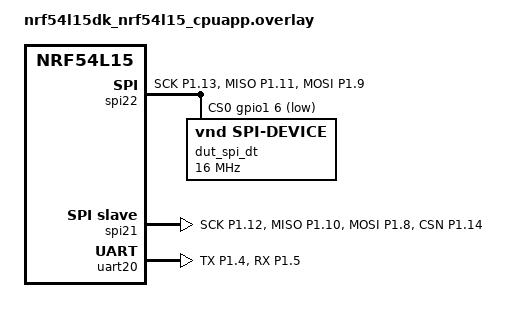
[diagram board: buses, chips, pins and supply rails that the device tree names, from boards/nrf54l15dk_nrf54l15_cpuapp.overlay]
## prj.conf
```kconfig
CONFIG_NRF_SENSOR_ENGINE=y
CONFIG_NRFX_SPIM=y
CONFIG_NRFX_SPIS=y
CONFIG_ZTEST=y

CONFIG_TEST_LOGGING_DEFAULTS=n
CONFIG_LOG=y
CONFIG_LOG_BUFFER_SIZE=16384

CONFIG_PPI_TRACE=y
```

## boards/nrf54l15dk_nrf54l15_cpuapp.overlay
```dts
/*
 * Copyright (c) 2024 Nordic Semiconductor
 *
 * SPDX-License-Identifier: Apache-2.0
 */

&pinctrl {
	uart20_alt_default: uart20_alt_default {
		group1 {
			psels = <NRF_PSEL(UART_TX, 1, 4)>;
		};

		group2 {
			psels = <NRF_PSEL(UART_RX, 1, 5)>;
			bias-pull-up;
		};
	};

	uart20_alt_sleep: uart20_alt_sleep {
		group1 {
			psels = <NRF_PSEL(UART_TX, 1, 4)>,
				<NRF_PSEL(UART_RX, 1, 5)>;
			low-power-enable;
		};
	};

	spi22_default_alt: spi22_default_alt {
		group1 {
			psels = <NRF_PSEL(SPIM_SCK, 1, 13)>,
				<NRF_PSEL(SPIM_MISO, 1, 11)>,
				<NRF_PSEL(SPIM_MOSI, 1, 9)>;
		};
	};

	spi22_sleep_alt: spi22_sleep_alt {
		group1 {
			psels = <NRF_PSEL(SPIM_SCK, 1, 13)>,
				<NRF_PSEL(SPIM_MISO, 1, 11)>,
				<NRF_PSEL(SPIM_MOSI, 1, 9)>;
			low-power-enable;
		};
	};

	spi21_default_alt: spi21_default_alt {
		group1 {
			psels = <NRF_PSEL(SPIS_SCK, 1, 12)>,
				<NRF_PSEL(SPIS_MISO, 1, 10)>,
				<NRF_PSEL(SPIS_MOSI, 1, 8)>,
				<NRF_PSEL(SPIS_CSN, 1, 14)>;
		};
	};

	spi21_sleep_alt: spi21_sleep_alt {
		group1 {
			psels = <NRF_PSEL(SPIS_SCK, 1, 12)>,
				<NRF_PSEL(SPIS_MISO, 1, 10)>,
				<NRF_PSEL(SPIS_MOSI, 1, 8)>,
				<NRF_PSEL(SPIS_CSN, 1, 14)>;
			low-power-enable;
		};
	};
};

dut_cnt_timer: &timer21 {
	status = "reserved";
};

dut_trig_timer: &timer22 {
	status = "reserved";
};

dut_spi: &spi22 {
	status = "okay";
	pinctrl-0 = <&spi22_default_alt>;
	pinctrl-1 = <&spi22_sleep_alt>;
	pinctrl-names = "default", "sleep";
	overrun-character = <0x00>;
	cs-gpios = <&gpio1 6 GPIO_ACTIVE_LOW>;
	zephyr,pm-device-runtime-auto;

	dut_spi_dt: test-spi-dev@0 {
		compatible = "vnd,spi-device";
		reg = <0>;
		spi-max-frequency = <DT_FREQ_M(16)>;
	};
};

dut_spis: &spi21 {
	compatible = "nordic,nrf-spis";
	status = "okay";
	def-char = <0x00>;
	interrupts = <199 0>;
	pinctrl-0 = <&spi21_default_alt>;
	pinctrl-1 = <&spi21_sleep_alt>;
	pinctrl-names = "default", "sleep";
	/delete-property/ rx-delay-supported;
	/delete-property/ rx-delay;
	zephyr,pm-device-runtime-auto;
};

&uart20 {
	pinctrl-0 = <&uart20_alt_default>;
	pinctrl-1 = <&uart20_alt_sleep>;
};
```

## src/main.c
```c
/*
 * Copyright (c) 2025 Nordic Semiconductor ASA
 *
 * SPDX-License-Identifier: LicenseRef-Nordic-5-Clause
 */

#include <errno.h>
#include <string.h>
#include <zephyr/kernel.h>
#include <zephyr/ztest.h>
#include <debug/cpu_load.h>
#include <drivers/ppi_seq.h>
#include <drivers/ppi_seq_spim.h>
#include <zephyr/drivers/pinctrl.h>
#include <nrfx_spim.h>
#include <nrfx_spis.h>
#include <nrfx_timer.h>
#include <nrfx_grtc.h>
#include <nrfx_gpiote.h>
#include <hal/nrf_gpio.h>
#include <debug/ppi_trace.h>
#include <zephyr/logging/log.h>
#include <zephyr/drivers/gpio/gpio_nrf.h>
LOG_MODULE_REGISTER(test);

#define SPIM_NODE DT_NODELABEL(dut_spi)
#define SPIS_NODE DT_NODELABEL(dut_spis)
static nrfx_spim_t spim;
static nrfx_spis_t spis;

#define XFER_LEN 8
#define XFER_CNT 16

struct spis_test_data {
	uint32_t cnt;
	uint32_t exp_len;
	nrfx_spis_t *spis;
	volatile bool stop;
	bool err;
	uint8_t rx_buf[XFER_LEN];
	uint8_t tx_buf[XFER_LEN];
	uint32_t last_timestamp;
	uint32_t timestamp_idx;
	uint32_t timestamp_max;
	uint32_t exp_diff[4];
};

struct engine_test_data {
	struct ppi_seq_spim engine;
	nrfx_gpiote_t *gpiote;
	uint8_t gpiote_task_ch;
	uint32_t ss_pin;
	uint32_t ss_task;

	uint8_t tx_buf0[XFER_CNT][XFER_LEN];
	uint8_t rx_buf0[XFER_CNT][XFER_LEN];

	uint8_t tx_buf1[XFER_CNT][XFER_LEN];
	uint8_t rx_buf1[XFER_CNT][XFER_LEN];

	uint32_t exp_len;
	uint32_t exp_cnt;

	volatile uint32_t cb_cnt;
	volatile uint32_t tx_byte_cnt;
	volatile uint32_t rx_byte_cnt;
	uint32_t rpt;
	bool stop_immediate;
	volatile bool stop;
	uint32_t t_cb;
	bool err;

	struct k_sem end_sem;
};

static struct spis_test_data spis_data;
static struct engine_test_data engine_data;

static NRF_TIMER_Type *timer = (NRF_TIMER_Type *)DT_REG_ADDR(DT_NODELABEL(dut_trig_timer));

static void *rtc_prepare_and_get(void)
{
#ifdef CONFIG_SOC_NRF54L15_CPUAPP
	void *reg = (void *)0x50105000;
	*(uint32_t *)reg = 1;
	k_msleep(1);
	*(uint32_t *)((uint32_t)reg + 4) = 1;

	return reg;
#else
	return NULL;
#endif
}

static void next_spis(struct spis_test_data *data)
{
	int rv;

	for (int i = 0; i < data->exp_len; i++) {
		data->tx_buf[i] = data->cnt + i;
	}

	rv = nrfx_spis_buffers_set(data->spis, data->tx_buf, data->exp_len,
				   data->rx_buf, data->exp_len);
	zassert_ok(rv, "Unexpected error:%d", rv);
}

static void spis_event_handler(nrfx_spis_event_t const *event, void *context)
{
	struct spis_test_data *data = context;

	if ((event->evt_type == NRFX_SPIS_XFER_DONE) && (data->stop == false)) {
		uint8_t *rx_buf = event->p_rx_buf;

		/* Check that interrupt happens at expected moment. */
	NRF_P2->OUTSET=BIT(9);
		uint32_t now = nrfx_grtc_syscounter_get();
		uint32_t diff = now - data->last_timestamp;

	NRF_P2->OUTCLR=BIT(9);
		if (0 && data->last_timestamp > 0) {
			NRF_P2->OUTSET=BIT(10);
			zassert_within(diff, data->exp_diff[data->timestamp_idx] + 10, 35,
				"Unexpected spis interrupt after %d from last,"
				"expected %d us", diff, data->exp_diff[data->timestamp_idx] + 10);
			NRF_P2->OUTCLR=BIT(10);
		}
		data->last_timestamp = now;
		data->timestamp_idx++;
		data->timestamp_idx = (data->timestamp_idx == data->timestamp_max) ?
			0 : data->timestamp_idx;

		zassert_equal(data->exp_len, event->rx_amount);
		zassert_equal(data->exp_len, event->tx_amount);
		for (int i = 0; i < data->exp_len; i++) {
			uint8_t exp_byte = (uint8_t)(data->cnt + i);

			if (!data->err) {
				data->err = rx_buf[i] != exp_byte;
				if (data->err) {
					/*NRF_P2->OUTSET=BIT(9);*/
					LOG_ERR("spis Rx err");
					/*NRF_P2->OUTCLR=BIT(9);*/
				}
				zassert_false(data->err,
					"Unexpected idx:%d val:%02x exp:%02x",
					i, rx_buf[i], exp_byte);
			}
		}
		data->cnt += data->exp_len;
		next_spis(data);
	}
}

static void spim_event_handler(nrfx_spim_event_t const *event, void *context)
{
	TC_PRINT("Unexpected SPIM interrupt handler call.");
	zassert_false(true);
}

static void spim_init(nrfx_spim_t *instance, bool use_hw_ss)
{
	int rv;
	nrfx_spim_config_t config;

	instance->p_reg = (NRF_SPIM_Type *)DT_REG_ADDR(SPIM_NODE);

	PINCTRL_DT_DEFINE(SPIM_NODE);
	rv = pinctrl_apply_state(PINCTRL_DT_DEV_CONFIG_GET(SPIM_NODE), PINCTRL_STATE_DEFAULT);
	zassert_ok(rv, "Unexpected error:%d", rv);

	uint32_t pin = DT_GPIO_PIN(SPIM_NODE, cs_gpios);
	/*uint32_t flags = DT_GPIO_FLAGS(SPIM_NODE, cs_gpios);*/
	uint32_t port = DT_PROP(DT_GPIO_CTLR(SPIM_NODE, cs_gpios), port);
	uint32_t ss_pin = 32 * port + pin;

	/* CS configure. */
	if (use_hw_ss) {
		nrf_gpio_pin_set(ss_pin);
		nrf_gpio_cfg_output(ss_pin);
		nrf_spim_csn_configure(instance->p_reg, ss_pin, NRF_SPIM_CSN_POL_LOW, 32);
		engine_data.ss_task = 0;
	} else {
		const struct device *cs_port = DEVICE_DT_GET(DT_GPIO_CTLR(SPIM_NODE, cs_gpios));
		nrfx_gpiote_t *gpiote = gpio_nrf_gpiote_by_port_get(cs_port);
		nrfx_gpiote_output_config_t out_config = {
			.drive = NRF_GPIO_PIN_S0S1,
			.input_connect = NRF_GPIO_PIN_INPUT_DISCONNECT,
			.pull = NRF_GPIO_PIN_NOPULL
		};
		nrfx_gpiote_task_config_t task_config = {
			.polarity = NRF_GPIOTE_POLARITY_TOGGLE,
			.init_val = NRF_GPIOTE_INITIAL_VALUE_HIGH
		};

		rv = nrfx_gpiote_channel_alloc(gpiote, &engine_data.gpiote_task_ch);
		zassert_ok(rv, "Unexpected error:%d", rv);

		task_config.task_ch = engine_data.gpiote_task_ch;

		rv = nrfx_gpiote_output_configure(gpiote, ss_pin, &out_config, &task_config);
		zassert_ok(rv, "Unexpected error:%d", rv);
		nrfx_gpiote_out_task_enable(gpiote, ss_pin);

		engine_data.ss_task = nrfx_gpiote_out_task_address_get(gpiote, ss_pin);
		engine_data.ss_pin = ss_pin;
		engine_data.gpiote = gpiote;
	}

	config.ss_pin = NRF_SPIM_PIN_NOT_CONNECTED;
	config.frequency = MHZ(8);
	config.mode = NRF_SPIM_MODE_0;
	config.use_hw_ss = use_hw_ss;
	config.rx_delay = 1;
	config.bit_order = NRF_SPIM_BIT_ORDER_MSB_FIRST;
	config.skip_gpio_cfg = true;
	config.skip_psel_cfg = true;

	rv = nrfx_spim_init(instance, &config, spim_event_handler, NULL);
	zassert_ok(rv, "Unexpected error:%d", rv);
}

static void spis_init(nrfx_spis_t *instance, void *context)
{
	int rv;
	nrfx_spis_config_t config;

	instance->p_reg = (NRF_SPIS_Type *)DT_REG_ADDR(SPIS_NODE);

	PINCTRL_DT_DEFINE(SPIS_NODE);
	rv = pinctrl_apply_state(PINCTRL_DT_DEV_CONFIG_GET(SPIS_NODE), PINCTRL_STATE_DEFAULT);
	zassert_ok(rv, "Unexpected error:%d", rv);

	config.mode = NRF_SPIS_MODE_0;
	config.bit_order = NRF_SPIS_BIT_ORDER_MSB_FIRST;
	config.skip_gpio_cfg = true;
	config.skip_psel_cfg = true;

	rv = nrfx_spis_init(instance, &config, spis_event_handler, context);
	zassert_ok(rv, "Unexpected error:%d", rv);

	IRQ_CONNECT(DT_IRQN(SPIS_NODE), DT_IRQ_BY_IDX(SPIS_NODE, 0, priority),
			nrfx_spis_irq_handler, &spis, 0);
}

static uint32_t prepare_buf(uint8_t *buf, size_t cnt, uint32_t init_val)
{
	for (int i = 0; i < cnt; i++) {
		buf[i] = (uint8_t)(init_val + i);
	}

	return init_val + cnt;
}

static void ppi_seq_spim_cb(struct ppi_seq_spim *engine, struct ppi_seq_spim_data *data,
		bool last)
{
	struct engine_test_data *test_data = CONTAINER_OF(engine, struct engine_test_data, engine);

	NRF_P2->OUTSET=BIT(10);
	test_data->t_cb = k_cycle_get_32();
	test_data->cb_cnt++;
	if (test_data->stop == false) {
		for (int i = 0; i <  data->op_cnt; i++) {
			for (int j = 0; j < data->op_len; j++) {
				uint8_t byte = data->rx_buf[i * data->op_len + j];
				uint8_t exp_byte = (uint8_t)test_data->rx_byte_cnt;

				if (test_data->err == false) {
					test_data->err = byte != exp_byte;
					zassert_false(test_data->err,
						"Idx:%d (%d %d) byte:%02x exp:%02x",
						i * data->op_len + j, i, j, byte, exp_byte);
				}
				test_data->rx_byte_cnt++;
			}
		}
	}

	NRF_P2->OUTCLR=BIT(10);
	/* Fill data for the next buffer. */
	test_data->tx_byte_cnt =
		prepare_buf(data->tx_buf, data->op_cnt * data->op_len, test_data->tx_byte_cnt);

	if (test_data->rpt > 0) {
		test_data->rpt--;
		if (test_data->rpt == 0) {
			ppi_seq_spim_stop(engine, test_data->stop_immediate);
		}
	}

	if (last) {
		k_sem_give((struct k_sem *)&test_data->end_sem);
	}
}

enum test_ppi_seq_mode {
	TEST_MODE_RTC,
	TEST_MODE_TIMER,
	TEST_MODE_GRTC_TIMER,
	TEST_MODE_GRTC,
};

enum test_ppi_seq_notifier {
	TEST_NOTIFIER_SYS_TIMER,
	TEST_NOTIFIER_NRFX_TIMER,
};

enum test_ppi_seq_op {
	TEST_OP_SINGLE_HW_SS,
	TEST_OP_SINGLE_GPIOTE_SS,
	TEST_OP_DOUBLE,
};

static uint32_t engine_init(enum test_ppi_seq_mode mode, enum test_ppi_seq_op op,
			enum test_ppi_seq_notifier notifier, uint32_t xfer_len,
			uint32_t xfer_cnt, uint32_t *cycles, uint32_t *period)
{
	static struct ppi_seq_op ops[2];
	static struct ppi_seq_config config;
	static struct ppi_seq_notifier sys_timer_notifier;
	static struct ppi_seq_notifier nrfx_timer_notifier;
	int rv;

	IRQ_CONNECT(DT_IRQN(DT_NODELABEL(dut_cnt_timer)),
		    DT_IRQ_BY_IDX(DT_NODELABEL(dut_cnt_timer), 0, priority),
			nrfx_timer_irq_handler, &nrfx_timer_notifier.nrfx_timer.timer, 0);

	*period = mode == TEST_MODE_RTC ? 305 : 200;
	*cycles = xfer_cnt;

	spis_data.exp_len = xfer_len;
	spis_data.last_timestamp = 0;
	spim_init(&spim, op != TEST_OP_SINGLE_GPIOTE_SS);

	engine_data.cb_cnt = 0;
	engine_data.tx_byte_cnt = 0;
	engine_data.rx_byte_cnt = 0;
	engine_data.engine.spim = &spim;

	config.callback = ppi_seq_spim_internal_cb;
	sys_timer_notifier.type = PPI_SEQ_NOTIFIER_SYS_TIMER;
	sys_timer_notifier.sys_timer.offset = (1000000 * xfer_len) / (MHZ(8) / 8) + 10;
	sys_timer_notifier.sys_timer.extra_main_ops = 0;

	if (op == TEST_OP_SINGLE_GPIOTE_SS) {
		spis_data.timestamp_max = 1;
		spis_data.exp_diff[0] = *period;

		config.task = engine_data.ss_task;
		ops[0].task = nrfx_spim_start_task_address_get(&spim),
		ops[0].offset = 2;
		ops[1].task = engine_data.ss_task;
		ops[1].offset = 14;
		config.extra_ops = ops;
		config.extra_ops_count = 2;
		*cycles = xfer_cnt;
	} else if (op == TEST_OP_DOUBLE) {
		ops[0].task = nrfx_spim_start_task_address_get(&spim),
		ops[0].offset = mode == TEST_MODE_RTC ? 62 : 50;
		spis_data.timestamp_max = 2;
		spis_data.exp_diff[0] = *period - ops[0].offset;
		spis_data.exp_diff[1] = ops[0].offset;
		config.task = nrfx_spim_start_task_address_get(&spim);
		config.extra_ops = ops;
		config.extra_ops_count = 1;
		sys_timer_notifier.sys_timer.extra_main_ops++;

		*cycles = *cycles / 2;
		*period = *period * 2;
	} else {
		spis_data.timestamp_max = 1;
		spis_data.exp_diff[0] = *period;
		config.task = nrfx_spim_start_task_address_get(&spim);
		config.extra_ops = NULL;
		config.extra_ops_count = 0;
	}

	config.period = *period;

	switch (mode) {
	case TEST_MODE_RTC:
		config.use_grtc = false;
		config.timer_reg = NULL;
		config.rtc = rtc_prepare_and_get();
		if (config.rtc == NULL) {
			ztest_test_skip();
		}
		break;
	case TEST_MODE_TIMER:
		config.use_grtc = false;
		config.timer_reg = timer;
		config.rtc = NULL;
		break;
	case TEST_MODE_GRTC_TIMER:
		config.use_grtc = true;
		config.timer_reg = timer;
		config.rtc = NULL;
		break;
	case TEST_MODE_GRTC:
		config.use_grtc = true;
		config.timer_reg = NULL;
		config.rtc = NULL;
		break;
	default:
		zassert_false(true);
		break;
	}

	nrfx_timer_notifier.type = PPI_SEQ_NOTIFIER_NRFX_TIMER;
	nrfx_timer_notifier.nrfx_timer.timer.p_reg =
		(NRF_TIMER_Type *)DT_REG_ADDR(DT_NODELABEL(dut_cnt_timer));
	nrfx_timer_notifier.nrfx_timer.end_seq_event =
			nrfx_spim_end_event_address_get(&spim);

	if (notifier == TEST_NOTIFIER_SYS_TIMER) {
		config.notifier = &sys_timer_notifier;
	} else {
		config.notifier = &nrfx_timer_notifier;
	}

	k_sem_init(&engine_data.end_sem, 0, 1);

	rv = ppi_seq_spim_init(&engine_data.engine, &config);
	zassert_ok(rv, "Unexpected error:%d", rv);

	static bool once;
	if (once == false && config.use_grtc) {
		int chan = nrfx_gppi_ep_channel_get((uint32_t)&NRF_GRTC->EVENTS_COMPARE[0]);
		LOG_INF("grtc channel %d", chan);
		int err = ppi_trace_dppi_ch_trace(4, chan, NRF_DPPIC20);
		if (err < 0) {
			LOG_ERR("ppi trace failed");
		}
		once = true;
	}

	return op == TEST_OP_DOUBLE ? (*period * 2) : *period;
}

static uint32_t single_run(struct ppi_seq_spim_seq *seq, uint32_t timeout, bool immediate)
{
	int rv;
	uint32_t t;
	uint32_t prev_byte_cnt = engine_data.rx_byte_cnt;
	uint32_t prev_cb_cnt = engine_data.cb_cnt;
	uint32_t prev_spis_cnt = spis_data.cnt;
	uint32_t exp_bytes = XFER_CNT * XFER_LEN;

	t = k_cycle_get_32();
	rv = ppi_seq_spim_start(&engine_data.engine, seq, immediate);
	zassert_ok(rv, "Unexpected error:%d", rv);

	rv = k_sem_take(&engine_data.end_sem, K_USEC(timeout));
	zassert_ok(rv, "Unexpected error:%d", rv);

	zassert_equal(engine_data.rx_byte_cnt - prev_byte_cnt, exp_bytes,
		"Unexpected amount of bytes received: %d, exp:%d",
		engine_data.rx_byte_cnt - prev_byte_cnt, exp_bytes);
	zassert_equal(engine_data.cb_cnt - prev_cb_cnt, 1);
	zassert_equal(spis_data.cnt - prev_spis_cnt, exp_bytes);

	return engine_data.t_cb - t;
}

static void test_single_run(enum test_ppi_seq_mode mode, enum test_ppi_seq_op op,
			enum test_ppi_seq_notifier notifier)
{
	struct ppi_seq_spim_seq seq = {
		.tx_buf = { engine_data.tx_buf0[0] },
		.rx_buf = { engine_data.rx_buf0[0] },
		.op_len = XFER_LEN,
		.op_cnt = XFER_CNT,
		.repeat = 1,
		.cb = ppi_seq_spim_cb
	};
	uint32_t t_immediate, t_sync;
	uint32_t rpt;
	uint32_t period;
	uint32_t timeout;

	engine_init(mode, op, notifier, XFER_LEN, XFER_CNT, &rpt, &period);
	timeout = (rpt + 2) * period;

	engine_data.tx_byte_cnt =
		prepare_buf(engine_data.tx_buf0[0], XFER_LEN * XFER_CNT, engine_data.tx_byte_cnt);

	next_spis(&spis_data);

	t_immediate = single_run(&seq, timeout, true);
	spis_data.last_timestamp = 0;
	t_sync = single_run(&seq, timeout, false);
	printk("t_im:%d t_sync:%d\n", t_immediate, t_sync);

	uint32_t exp_time_sync = rpt * period + period / 2;
	uint32_t exp_time_imm = exp_time_sync - period;

	zassert_within(t_sync - t_immediate, period, period / 4);
	zassert_within(t_immediate, exp_time_imm, period / 2,
			"Time %d us not within:%d with delta:%d",
			t_immediate, exp_time_imm, period / 2);
	zassert_within(t_sync, exp_time_sync, period / 2,
			"Time %d us not within:%d with delta:%d",
			t_sync, exp_time_sync, period / 2);
}

static void test_multi_run(enum test_ppi_seq_mode mode, enum test_ppi_seq_op op,
			enum test_ppi_seq_notifier notifier)
{
	uint32_t rpt = 4;
	struct ppi_seq_spim_seq seq = {
		.tx_buf = { engine_data.tx_buf0[0], engine_data.tx_buf1[0] },
		.rx_buf = { engine_data.rx_buf0[0], engine_data.rx_buf1[0] },
		.op_len = XFER_LEN,
		.op_cnt = XFER_CNT,
		.repeat = rpt,
		.cb = ppi_seq_spim_cb
	};
	uint32_t period;
	uint32_t cycles;
	uint32_t timeout;
	int rv;

	engine_init(mode, op, notifier, XFER_LEN, XFER_CNT, &cycles, &period);
	timeout = rpt * (cycles + 1) * period;

	engine_data.tx_byte_cnt = prepare_buf(engine_data.tx_buf0[0], XFER_LEN * XFER_CNT, 0);
	engine_data.tx_byte_cnt = prepare_buf(engine_data.tx_buf1[0], XFER_LEN * XFER_CNT,
						engine_data.tx_byte_cnt);

	next_spis(&spis_data);

	engine_data.rpt = rpt - 1;
	rv = ppi_seq_spim_start(&engine_data.engine, &seq, false);
	zassert_ok(rv, "Unexpected error:%d", rv);

	rv = k_sem_take(&engine_data.end_sem, K_USEC(timeout));
	zassert_ok(rv, "Unexpected error:%d", rv);

	zassert_equal(engine_data.rx_byte_cnt, rpt * XFER_LEN * XFER_CNT);
	zassert_equal(engine_data.cb_cnt, rpt);
}

static void test_multi_run_async_stop(enum test_ppi_seq_mode mode, enum test_ppi_seq_op op,
			enum test_ppi_seq_notifier notifier, bool immediate)
{
	struct ppi_seq_spim_seq seq = {
		.tx_buf = { engine_data.tx_buf0[0], engine_data.tx_buf1[0] },
		.rx_buf = { engine_data.rx_buf0[0], engine_data.rx_buf1[0] },
		.op_len = XFER_LEN,
		.op_cnt = XFER_CNT,
		.repeat = UINT32_MAX,
		.cb = ppi_seq_spim_cb
	};
	uint32_t period;
	uint32_t cycles;
	uint32_t timeout;
	int rv;

	engine_init(mode, op, notifier, XFER_LEN, XFER_CNT, &cycles, &period);
	timeout = cycles * period * 2;

	engine_data.tx_byte_cnt = prepare_buf(engine_data.tx_buf0[0], XFER_LEN * XFER_CNT, 0);
	engine_data.tx_byte_cnt = prepare_buf(engine_data.tx_buf1[0], XFER_LEN * XFER_CNT,
						engine_data.tx_byte_cnt);

	next_spis(&spis_data);

	for (int i = 0; i < 3; i++) {
		rv = ppi_seq_spim_start(&engine_data.engine, &seq, false);
		zassert_ok(rv, "Unexpected error:%d", rv);

		k_msleep(50);

		uint32_t cb_cnt = engine_data.cb_cnt;

		spis_data.stop = true;
		engine_data.stop = true;
		rv = ppi_seq_spim_stop(&engine_data.engine, immediate);
		zassert_ok(rv, "Unexpected error:%d", rv);
		if (immediate) {
			/* Stop event is NOT called. */
			rv = k_sem_take(&engine_data.end_sem, K_USEC(timeout));
			zassert_equal(rv, -EAGAIN);

			/* No more callbacks. */
			zassert_equal(cb_cnt, engine_data.cb_cnt);
		} else {
			/* Stop event is called. */
			rv = k_sem_take(&engine_data.end_sem, K_USEC(timeout));
			zassert_ok(rv, "Unexpected error:%d", rv);

			/* One more callback. */
			zassert_equal(cb_cnt + 1, engine_data.cb_cnt);
		}

		k_msleep(1);
	}
}

ZTEST(sensor_engine_spi, test_single_run_with_grtc_interval_and_sys_timer)
{
	test_single_run(TEST_MODE_GRTC, TEST_OP_SINGLE_HW_SS, TEST_NOTIFIER_SYS_TIMER);
}

ZTEST(sensor_engine_spi, test_single_run_with_grtc_interval_and_cnt_timer)
{
	test_single_run(TEST_MODE_GRTC, TEST_OP_SINGLE_HW_SS, TEST_NOTIFIER_NRFX_TIMER);
}

ZTEST(sensor_engine_spi, test_single_run_with_cnt_timer_gpiote_ss)
{
	test_single_run(TEST_MODE_GRTC_TIMER, TEST_OP_SINGLE_GPIOTE_SS, TEST_NOTIFIER_NRFX_TIMER);
}

ZTEST(sensor_engine_spi, test_single_run_with_sys_timer_gpiote_ss)
{
	test_single_run(TEST_MODE_GRTC_TIMER, TEST_OP_SINGLE_GPIOTE_SS, TEST_NOTIFIER_SYS_TIMER);
}

ZTEST(sensor_engine_spi, test_single_run_with_trig_timer_and_sys_timer_two_ops)
{
	test_single_run(TEST_MODE_GRTC_TIMER, TEST_OP_DOUBLE, TEST_NOTIFIER_SYS_TIMER);
}

ZTEST(sensor_engine_spi, test_single_run_with_trig_timer_and_cnt_timer_two_ops)
{
	test_single_run(TEST_MODE_GRTC_TIMER, TEST_OP_DOUBLE, TEST_NOTIFIER_NRFX_TIMER);
}

ZTEST(sensor_engine_spi, test_single_run_with_trig_timer_and_cnt_timer)
{
	test_single_run(TEST_MODE_TIMER, TEST_OP_SINGLE_HW_SS, TEST_NOTIFIER_NRFX_TIMER);
}

ZTEST(sensor_engine_spi, test_multi_run_with_trig_timer_and_cnt_timer)
{
	test_multi_run(TEST_MODE_TIMER, TEST_OP_SINGLE_HW_SS, TEST_NOTIFIER_NRFX_TIMER);
}

ZTEST(sensor_engine_spi, test_multi_run_with_trig_timer_and_cnt_timer_two_ops)
{
	test_multi_run(TEST_MODE_GRTC_TIMER, TEST_OP_DOUBLE, TEST_NOTIFIER_NRFX_TIMER);
}

ZTEST(sensor_engine_spi, test_multi_run_with_trig_timer_and_sys_timer_two_ops)
{
	test_multi_run(TEST_MODE_GRTC_TIMER, TEST_OP_DOUBLE, TEST_NOTIFIER_SYS_TIMER);
}

ZTEST(sensor_engine_spi, test_multi_run_with_grtc_and_cnt_timer)
{
	test_multi_run(TEST_MODE_GRTC, TEST_OP_SINGLE_HW_SS, TEST_NOTIFIER_NRFX_TIMER);
}

ZTEST(sensor_engine_spi, test_multi_run_with_grtc_and_sys_timer)
{
	test_multi_run(TEST_MODE_GRTC, TEST_OP_SINGLE_HW_SS, TEST_NOTIFIER_SYS_TIMER);
}

ZTEST(sensor_engine_spi, test_multi_run_async_stop_with_grtc_and_sys_timer)
{
	test_multi_run_async_stop(TEST_MODE_GRTC, TEST_OP_SINGLE_HW_SS,
				  TEST_NOTIFIER_SYS_TIMER, false);
}

ZTEST(sensor_engine_spi, test_multi_run_immediate_async_stop_with_grtc_and_sys_timer)
{
	test_multi_run_async_stop(TEST_MODE_GRTC, TEST_OP_SINGLE_HW_SS,
				  TEST_NOTIFIER_SYS_TIMER, true);
}

ZTEST(sensor_engine_spi, test_single_run_with_rtc_and_cnt_timer)
{
	test_single_run(TEST_MODE_RTC, TEST_OP_SINGLE_HW_SS, TEST_NOTIFIER_NRFX_TIMER);
}

ZTEST(sensor_engine_spi, test_single_run_with_rtc_and_sys_timer)
{
	test_single_run(TEST_MODE_RTC, TEST_OP_SINGLE_HW_SS, TEST_NOTIFIER_SYS_TIMER);
}

ZTEST(sensor_engine_spi, test_multi_run_with_rtc_and_cnt_timer)
{
	test_multi_run(TEST_MODE_RTC, TEST_OP_SINGLE_HW_SS, TEST_NOTIFIER_NRFX_TIMER);
}


ZTEST(sensor_engine_spi, test_multi_run_with_rtc_and_sys_timer)
{
	test_multi_run(TEST_MODE_RTC, TEST_OP_SINGLE_HW_SS, TEST_NOTIFIER_SYS_TIMER);
}

static void before(void *not_used)
{
	memset(&spis_data, 0, sizeof(spis_data));
	memset(&engine_data, 0, sizeof(engine_data));

	NRF_RRAMC->POWER.LOWPOWERCONFIG = 1;
	spis_data.spis = &spis;
	spis_init(&spis, (void *)&spis_data);
	ARG_UNUSED(not_used);
}

static void after(void *not_used)
{
	ARG_UNUSED(not_used);

	if (engine_data.ss_task) {
		nrfx_gpiote_pin_uninit(engine_data.gpiote, engine_data.ss_pin);
		nrfx_gpiote_channel_free(engine_data.gpiote, engine_data.gpiote_task_ch);
	}
	nrfx_spis_uninit(&spis);
	nrfx_spim_uninit(&spim);
	ppi_seq_spim_uninit(&engine_data.engine);
}

#include <hal/nrf_gpio.h>
static void *suite_setup(void)
{
	nrf_gpio_cfg_output(2*32+8);
	nrf_gpio_cfg_output(2*32+9);
	nrf_gpio_cfg_output(2*32+10);

#if 0
	int ch = z_nrf_grtc_timer_special_chan_alloc();
	if (ch < 0) {
		LOG_ERR("failed");
	}
	uint32_t comp_evt = z_nrf_grtc_timer_compare_evt_address_get(ch);
	ppi_trace_enable(ppi_trace_config(4, comp_evt));
	nrfx_grtc_syscounter_cc_interval_set((uint8_t)ch, 1000);
	nrfx_grtc_syscounter_cc_rel_set((uint8_t)ch, 1000,
						NRFX_GRTC_CC_RELATIVE_SYSCOUNTER);
	k_busy_wait(10000);
	nrfx_grtc_syscounter_cc_disable((uint8_t)ch);
	while(1);
#endif

	IRQ_CONNECT(DT_IRQN(SPIM_NODE), DT_IRQ_BY_IDX(SPIM_NODE, 0, priority),
			nrfx_spim_irq_handler, &spim, 0);

	return NULL;
}

ZTEST_SUITE(sensor_engine_spi, NULL, suite_setup, before, after, NULL);
```
